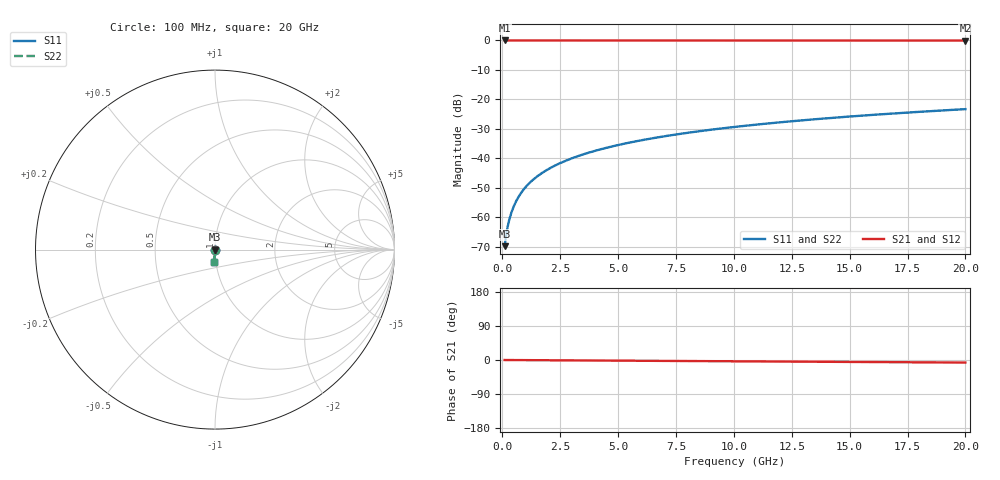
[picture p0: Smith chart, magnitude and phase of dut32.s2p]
! Touchstone file exported from HFSS 2026.1.0
!  File:  C:/ffzhzh/LocalFiles/Ansys_Project_Files/temp_train_TSV_32_1782958414_45748.aedt
!  Generated:  10:15:02 AM Jul  2, 2026
!  Design:  TSV
!  Project:  temp_train_TSV_32_1782958414_45748
! Variables:
!  h_bsmrdl = 2um
!  h_ox = 20um
!  h_rdl = 5um
!  h_sub = 58.75um
!  h_tmrdl = 5um
!  h_tsv = 58.75um
!  h_via = 3um
!  l_bsmrdl = 300um
!  l_sub = 416.92um
!  l_tmrdl = 200um
!  m_sub = 200um
!  pitch = 21.07um
!  r_tsv = 8.46um
!  s_tmrdl = 10um
!  w_bsmrdl = 18um
!  w_sub = 500um
!  w_tmrdl = 12um
!  x_tsv_center1 = 206um
!  x_tsv_center2 = 524um
!  x_tsv_center3 = 736um
!  x_tsv_center4 = 1054um
!  x_tsv_center5 = 1266um
!  x_tsv_center6 = 1584um
# GHz S MA R 50.000000
! Terminal data exported
! Port[1] = TSV1_1_T1
! Port[2] = TSV1_1_T2
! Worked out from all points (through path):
!   200 points, 100 MHz to 20 GHz, reference 50 ohm
!   highest |S21| = 0.00 dB at 100 MHz (marker M1); lowest = 0.0 dB at 20 GHz (marker M2)
!   lowest |S11| = -69.9 dB at 100 MHz (marker M3), VSWR 1.00, Z = 50 - j0.0286 ohm
!   |S11| at or under -10 dB: start of sweep to end of sweep
!   |S22| runs from -69.9 to -23.3 dB; largest |S21 - S12| = 4.3e-15
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0.1  0.0003205 -63.0  0.9999 -0.0  0.9999 -0.0  0.0003205 -63.0
! Gamma 0 0 0 0
! Port Impedance 50 0 50 0
0.2  0.0006009 -74.0  0.9998 -0.1  0.9998 -0.1  0.0006009 -74.0
0.3  0.0009009 -77.6  0.9998 -0.1  0.9998 -0.1  0.0009009 -77.6
0.4  0.001214 -79.4  0.9998 -0.1  0.9998 -0.1  0.001214 -79.4
0.5  0.001536 -80.6  0.9997 -0.2  0.9997 -0.2  0.001536 -80.6
0.7  0.002196 -82.2  0.9997 -0.2  0.9997 -0.2  0.002196 -82.2
0.8  0.00253 -82.8  0.9997 -0.3  0.9997 -0.3  0.00253 -82.8
1  0.003202 -83.8  0.9996 -0.4  0.9996 -0.4  0.003202 -83.8
1.2  0.003876 -84.6  0.9996 -0.4  0.9996 -0.4  0.003876 -84.6
1.4  0.004549 -85.3  0.9996 -0.5  0.9996 -0.5  0.004549 -85.3
1.7  0.005559 -86.0  0.9995 -0.6  0.9995 -0.6  0.005559 -86.0
2  0.006568 -86.6  0.9995 -0.7  0.9995 -0.7  0.006568 -86.6
2.7  0.008926 -87.5  0.9994 -0.9  0.9994 -0.9  0.008926 -87.5
3.5  0.01163 -88.2  0.9993 -1.2  0.9993 -1.2  0.01163 -88.2
4.2  0.014 -88.7  0.9992 -1.4  0.9992 -1.4  0.014 -88.7
5  0.01673 -89.2  0.9991 -1.7  0.9991 -1.7  0.01673 -89.2
6.8  0.02288 -90.2  0.9989 -2.3  0.9989 -2.3  0.02288 -90.2
8.3  0.02803 -90.9  0.9986 -2.8  0.9986 -2.8  0.02803 -90.9
10.1  0.03421 -91.7  0.9984 -3.4  0.9984 -3.4  0.03421 -91.7
13.4  0.04553 -93.0  0.9977 -4.5  0.9977 -4.5  0.04553 -93.0
16.7  0.05684 -94.3  0.997 -5.7  0.997 -5.7  0.05684 -94.3
20  0.06814 -95.5  0.9961 -6.8  0.9961 -6.8  0.06814 -95.5
